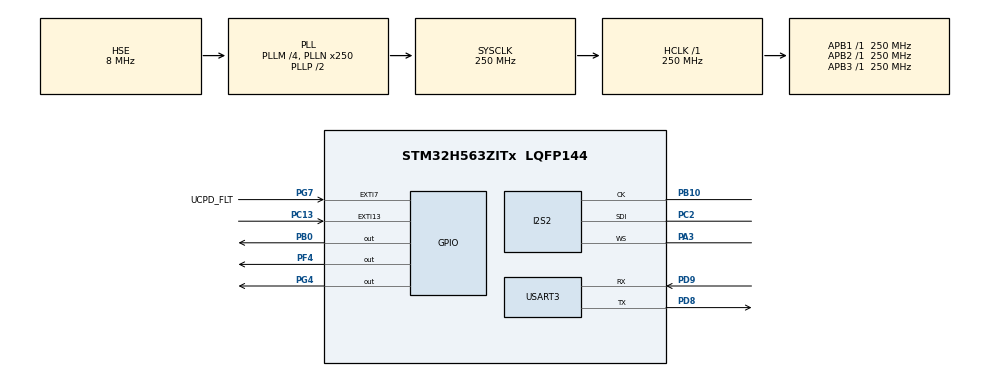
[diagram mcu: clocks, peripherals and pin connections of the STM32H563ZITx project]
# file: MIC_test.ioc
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BOOTPATH.BootPathName=LEGACY
BOOTPATH.UserSelectedBootPath=LEGACY
CORTEX_M33_NS.userName=CORTEX_M33
GPDMA1.CIRCULARMODE_GPDMACH0=ENABLE
GPDMA1.DESTDATAWIDTH_GPDMACH0=DMA_DEST_DATAWIDTH_HALFWORD
GPDMA1.IPHANDLE_GPDMACH0-SIMPLEREQUEST_GPDMACH0=__NULL
GPDMA1.PRIORITY_LL_CIRCULAR_GPDMACH0=DMA_LOW_PRIORITY_HIGH_WEIGHT
GPDMA1.REQUEST_GPDMACH0=GPDMA1_REQUEST_SPI2_RX
GPDMA1.SRCDATAWIDTH_GPDMACH0=DMA_SRC_DATAWIDTH_HALFWORD
GPDMA1.TRANSFERALLOCATEDPORTDEST_GPDMACH0=DMA_DEST_ALLOCATED_PORT1
I2S2.AudioFreq=I2S_AUDIOFREQ_32K
I2S2.CPOL=I2S_CPOL_HIGH
I2S2.DataFormat=I2S_DATAFORMAT_16B_EXTENDED
I2S2.ErrorAudioFreq=0.05 %
I2S2.Instance=SPI$Index
I2S2.RealAudioFreq=32.018 KHz
I2S2.Standard=I2S_STANDARD_MSB
Mcu.Family=STM32H5
Mcu.Name=STM32H563ZITx
Mcu.Package=LQFP144
NVIC.GPDMA1_Channel0_IRQn=true\:2\:0\:true\:false\:true\:true\:false\:true\:true
NVIC.PriorityGroup=NVIC_PRIORITYGROUP_4
NVIC.SPI2_IRQn=true\:2\:0\:true\:false\:true\:false\:true\:true\:true
NVIC.TIM6_IRQn=true\:15\:0\:false\:false\:true\:false\:false\:true\:true
NVIC.TimeBase=TIM6_IRQn
NVIC.TimeBaseIP=TIM6
PA1.GPIO_Label=RMII_REF_CLK
PA1.GPIO_Mode=GPIO_MODE_AF_PP
PA1.GPIO_PuPd=GPIO_NOPULL
PA1.GPIO_Speed=GPIO_SPEED_FREQ_LOW
PA1.Signal=ETH_REF_CLK
PA11.GPIO_Label=USB_FS_N
PA11.Signal=USB_DM
PA12.GPIO_Label=USB_FS_P
PA12.Signal=USB_DP
PA13(JTMS/SWDIO).GPIO_Label=SWDIO
PA13(JTMS/SWDIO).Signal=DEBUG_JTMS-SWDIO
PA14(JTCK/SWCLK).GPIO_Label=SWCLK
PA14(JTCK/SWCLK).Signal=DEBUG_JTCK-SWCLK
PA15(JTDI).GPIO_Label=T_JTDI
PA15(JTDI).Signal=DEBUG_JTDI
PA2.GPIO_Label=RMII_MDIO
PA2.GPIO_Mode=GPIO_MODE_AF_PP
PA2.GPIO_PuPd=GPIO_NOPULL
PA2.GPIO_Speed=GPIO_SPEED_FREQ_LOW
PA2.Signal=ETH_MDIO
PA3.Mode=Half_Duplex_Master_Rx
PA3.Signal=I2S2_WS
PA4.GPIO_Label=VBUS_SENSE
PA4.Signal=ADCx_INP18
PA7.GPIO_Label=RMII_CRS_DV
PA7.GPIO_Mode=GPIO_MODE_AF_PP
PA7.GPIO_PuPd=GPIO_NOPULL
PA7.GPIO_Speed=GPIO_SPEED_FREQ_LOW
PA7.Signal=ETH_CRS_DV
PA9.GPIO_Label=UCDP_DBn
PA9.Signal=UCPD1_DB1
PB0.Signal=GPIO_Output
PB10.Mode=Half_Duplex_Master_Rx
PB10.Signal=I2S2_CK
PB13.GPIO_Label=UCPD_CC1
PB13.Signal=UCPD1_CC1
PB14.GPIO_Label=UCPD_CC2
PB14.Signal=UCPD1_CC2
PB15.GPIO_Label=RMII_TXD1
PB15.GPIO_Mode=GPIO_MODE_AF_PP
PB15.GPIO_PuPd=GPIO_NOPULL
PB15.GPIO_Speed=GPIO_SPEED_FREQ_LOW
PB15.Signal=ETH_TXD1
PB3(JTDO/TRACESWO).GPIO_Label=SWO
PB3(JTDO/TRACESWO).Signal=DEBUG_JTDO-SWO
PB6.GPIO_Label=ARD_D1_TX
PB6.Signal=LPUART1_TX
PB7.GPIO_Label=ARD_D0_RX
PB7.Signal=LPUART1_RX
PC1.GPIO_Label=RMII_MDC
PC1.GPIO_Mode=GPIO_MODE_AF_PP
PC1.GPIO_PuPd=GPIO_NOPULL
PC1.GPIO_Speed=GPIO_SPEED_FREQ_LOW
PC1.Signal=ETH_MDC
PC13.Signal=GPXTI13
PC14-OSC32_IN(OSC32_IN).Mode=LSE-External-Oscillator
PC14-OSC32_IN(OSC32_IN).Signal=RCC_OSC32_IN
PC15-OSC32_OUT(OSC32_OUT).Mode=LSE-External-Oscillator
PC15-OSC32_OUT(OSC32_OUT).Signal=RCC_OSC32_OUT
PC2.Mode=Half_Duplex_Master_Rx
PC2.Signal=I2S2_SDI
PC4.GPIO_Label=RMII_RXD0
PC4.GPIO_Mode=GPIO_MODE_AF_PP
PC4.GPIO_PuPd=GPIO_NOPULL
PC4.GPIO_Speed=GPIO_SPEED_FREQ_LOW
PC4.Signal=ETH_RXD0
PC5.GPIO_Label=RMII_RXD1
PC5.GPIO_Mode=GPIO_MODE_AF_PP
PC5.GPIO_PuPd=GPIO_NOPULL
PC5.GPIO_Speed=GPIO_SPEED_FREQ_LOW
PC5.Signal=ETH_RXD1
PD8.Mode=Asynchronous
PD8.Signal=USART3_TX
PD9.Mode=Asynchronous
PD9.Signal=USART3_RX
PE2.GPIO_Label=TRACE_CK
PE2.Signal=DEBUG_TRACECLK
PE3.GPIO_Label=TRACE_D0
PE3.Signal=DEBUG_TRACED0
PE4.GPIO_Label=TRACE_D1
PE4.Signal=DEBUG_TRACED1
PE5.GPIO_Label=TRACE_D2
PE5.Signal=DEBUG_TRACED2
PE6.GPIO_Label=TRACE_D3
PE6.Signal=DEBUG_TRACED3
PF4.Signal=GPIO_Output
PG11.GPIO_Label=RMII_TXT_EN
PG11.GPIO_Mode=GPIO_MODE_AF_PP
PG11.GPIO_PuPd=GPIO_NOPULL
PG11.GPIO_Speed=GPIO_SPEED_FREQ_LOW
PG11.Signal=ETH_TX_EN
PG13.GPIO_Label=RMI_TXD0
PG13.GPIO_Mode=GPIO_MODE_AF_PP
PG13.GPIO_PuPd=GPIO_NOPULL
PG13.GPIO_Speed=GPIO_SPEED_FREQ_LOW
PG13.Signal=ETH_TXD0
PG4.Signal=GPIO_Output
PG7.GPIO_Label=UCPD_FLT
PG7.Signal=GPXTI7
PH0-OSC_IN(PH0).GPIO_Label=STLK_MCO
PH0-OSC_IN(PH0).Mode=HSE-External-Clock-Source
PH0-OSC_IN(PH0).Signal=RCC_OSC_IN
ProjectManager.HeapSize=0x200
ProjectManager.StackSize=0x400
ProjectManager.TargetToolchain=STM32CubeIDE
RCC.ADCFreq_Value=250000000
RCC.AHBFreq_Value=250000000
RCC.APB1Freq_Value=250000000
RCC.APB1TimFreq_Value=250000000
RCC.APB2Freq_Value=250000000
RCC.APB2TimFreq_Value=250000000
RCC.APB3Freq_Value=250000000
RCC.CSI_VALUE=4000000
RCC.CortexFreq_Value=250000000
RCC.EPOD_VALUE=8000000
RCC.HCLKFreq_Value=250000000
RCC.HSE_VALUE=8000000
RCC.HSI48_VALUE=48000000
RCC.HSIDiv=RCC_HSI_DIV1
RCC.HSI_VALUE=64000000
RCC.LSIRC_VALUE=32000
RCC.PLLM=4
RCC.PLLN=250
RCC.PLLSourceVirtual=RCC_PLL1_SOURCE_HSE
RCC.SYSCLKFreq_VALUE=250000000
RCC.SYSCLKSource=RCC_SYSCLKSOURCE_PLLCLK
RCC.USBFreq_Value=48000000
RCC.VCOOutputFreq_Value=500000000
SH.ADCx_INP18.0=ADC1_INP18
USART3.VirtualMode-Asynchronous=VM_ASYNC
VP_BOOTPATH_VS_BOOTPATH.Mode=BP_Activate
VP_CORTEX_M33_NS_VS_Hclk.Mode=Hclk_Mode
VP_GPDMA1_VS_GPDMACH0.Mode=SIMPLEREQUEST_GPDMACH0
VP_ICACHE_VS_ICACHE.Mode=DirectMappedCache
VP_MEMORYMAP_VS_MEMORYMAP.Mode=CurAppReg
VP_PWR_VS_DBSignals.Mode=DisableDeadBatterySignals
VP_PWR_VS_LPOM.Mode=PowerOptimisation
VP_PWR_VS_SECSignals.Mode=Security/Privilege
VP_SYS_VS_tim6.Mode=TIM6
VP_THREADX_VS_RTOSJjThreadXJjCoreJjDefault.Mode=Core_Default
board=NUCLEO-H563ZI

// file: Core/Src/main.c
/* USER CODE BEGIN Header */
/**
  ******************************************************************************
  * @file           : main.c
  * @brief          : Main program body
  ******************************************************************************
  * @attention
  *
  * Copyright (c) 2025 STMicroelectronics.
  * All rights reserved.
  *
  * This software is licensed under terms that can be found in the LICENSE file
  * in the root directory of this software component.
  * If no LICENSE file comes with this software, it is provided AS-IS.
  *
  ******************************************************************************
  */
/* USER CODE END Header */
#include "app_threadx.h"
#include "main.h"

/* USER CODE BEGIN Includes */
#include <stdio.h>
/* USER CODE END Includes */

/* USER CODE BEGIN PD */
#define AUDIO_BUFFER_SIZE    512
/* USER CODE END PD */

I2S_HandleTypeDef hi2s2;
DMA_NodeTypeDef Node_GPDMA1_Channel0;
DMA_QListTypeDef List_GPDMA1_Channel0;
DMA_HandleTypeDef handle_GPDMA1_Channel0;

UART_HandleTypeDef huart3;

/* USER CODE BEGIN PV */
ALIGN_32BYTES(uint16_t audioBuffer[AUDIO_BUFFER_SIZE]);
volatile uint8_t bufferHalf = 0;
extern TX_SEMAPHORE data_ready_semaphore;
/* USER CODE END PV */

void SystemClock_Config(void);
static void MX_GPIO_Init(void);
static void MX_GPDMA1_Init(void);
static void MX_I2S2_Init(void);
static void MX_ICACHE_Init(void);
static void MX_USART3_UART_Init(void);

/* USER CODE BEGIN 0 */
#define USE_UART_PRINT
void __io_putchar(char ch) {
#ifdef USE_UART_PRINT
	HAL_UART_Transmit(&huart3, (uint8_t*) &ch, 1, 10);
#else
	ITM_SendChar(ch);
#endif
}
/* USER CODE END 0 */

int main(void)
{

  /* MCU Configuration--------------------------------------------------------*/

  /* Reset of all peripherals, Initializes the Flash interface and the Systick. */
  HAL_Init();

  /* Configure the system clock */
  SystemClock_Config();

  /* Initialize all configured peripherals */
  MX_GPIO_Init();
  MX_GPDMA1_Init();
  MX_I2S2_Init();
  MX_ICACHE_Init();
  MX_USART3_UART_Init();
  /* USER CODE BEGIN 2 */
  /* Link DMA to I2S */
  __HAL_LINKDMA(&hi2s2, hdmarx, handle_GPDMA1_Channel0);

  /* Enable DMA interrupts */
  __HAL_DMA_ENABLE_IT(&handle_GPDMA1_Channel0, DMA_IT_TC);
  __HAL_DMA_ENABLE_IT(&handle_GPDMA1_Channel0, DMA_IT_HT);
  /* USER CODE END 2 */

  MX_ThreadX_Init();

  /* We should never get here as control is now taken by the scheduler */

  /* Infinite loop */
  while (1)
  {

  }
}

void SystemClock_Config(void)
{
  RCC_OscInitTypeDef RCC_OscInitStruct = {0};
  RCC_ClkInitTypeDef RCC_ClkInitStruct = {0};

  /** Configure the main internal regulator output voltage
  */
  __HAL_PWR_VOLTAGESCALING_CONFIG(PWR_REGULATOR_VOLTAGE_SCALE0);

  while(!__HAL_PWR_GET_FLAG(PWR_FLAG_VOSRDY)) {}

  /** Initializes the RCC Oscillators according to the specified parameters
  * in the RCC_OscInitTypeDef structure.
  */
  RCC_OscInitStruct.OscillatorType = RCC_OSCILLATORTYPE_HSE;
  RCC_OscInitStruct.HSEState = RCC_HSE_BYPASS;
  RCC_OscInitStruct.PLL.PLLState = RCC_PLL_ON;
  RCC_OscInitStruct.PLL.PLLSource = RCC_PLL1_SOURCE_HSE;
  RCC_OscInitStruct.PLL.PLLM = 4;
  RCC_OscInitStruct.PLL.PLLN = 250;
  RCC_OscInitStruct.PLL.PLLP = 2;
  RCC_OscInitStruct.PLL.PLLQ = 2;
  RCC_OscInitStruct.PLL.PLLR = 2;
  RCC_OscInitStruct.PLL.PLLRGE = RCC_PLL1_VCIRANGE_1;
  RCC_OscInitStruct.PLL.PLLVCOSEL = RCC_PLL1_VCORANGE_WIDE;
  RCC_OscInitStruct.PLL.PLLFRACN = 0;
  if (HAL_RCC_OscConfig(&RCC_OscInitStruct) != HAL_OK)
  {
    Error_Handler();
  }

  /** Initializes the CPU, AHB and APB buses clocks
  */
  RCC_ClkInitStruct.ClockType = RCC_CLOCKTYPE_HCLK|RCC_CLOCKTYPE_SYSCLK
                              |RCC_CLOCKTYPE_PCLK1|RCC_CLOCKTYPE_PCLK2
                              |RCC_CLOCKTYPE_PCLK3;
  RCC_ClkInitStruct.SYSCLKSource = RCC_SYSCLKSOURCE_PLLCLK;
  RCC_ClkInitStruct.AHBCLKDivider = RCC_SYSCLK_DIV1;
  RCC_ClkInitStruct.APB1CLKDivider = RCC_HCLK_DIV1;
  RCC_ClkInitStruct.APB2CLKDivider = RCC_HCLK_DIV1;
  RCC_ClkInitStruct.APB3CLKDivider = RCC_HCLK_DIV1;

  if (HAL_RCC_ClockConfig(&RCC_ClkInitStruct, FLASH_LATENCY_5) != HAL_OK)
  {
    Error_Handler();
  }

  /** Configure the programming delay
  */
  __HAL_FLASH_SET_PROGRAM_DELAY(FLASH_PROGRAMMING_DELAY_2);
}

static void MX_GPDMA1_Init(void)
{

  /* Peripheral clock enable */
  __HAL_RCC_GPDMA1_CLK_ENABLE();

  /* GPDMA1 interrupt Init */
    HAL_NVIC_SetPriority(GPDMA1_Channel0_IRQn, 2, 0);
    HAL_NVIC_EnableIRQ(GPDMA1_Channel0_IRQn);

}

static void MX_I2S2_Init(void)
{

  hi2s2.Instance = SPI2;
  hi2s2.Init.Mode = I2S_MODE_MASTER_RX;
  hi2s2.Init.Standard = I2S_STANDARD_MSB;
  hi2s2.Init.DataFormat = I2S_DATAFORMAT_16B_EXTENDED;
  hi2s2.Init.MCLKOutput = I2S_MCLKOUTPUT_DISABLE;
  hi2s2.Init.AudioFreq = I2S_AUDIOFREQ_32K;
  hi2s2.Init.CPOL = I2S_CPOL_HIGH;
  hi2s2.Init.FirstBit = I2S_FIRSTBIT_MSB;
  hi2s2.Init.WSInversion = I2S_WS_INVERSION_DISABLE;
  hi2s2.Init.Data24BitAlignment = I2S_DATA_24BIT_ALIGNMENT_RIGHT;
  hi2s2.Init.MasterKeepIOState = I2S_MASTER_KEEP_IO_STATE_DISABLE;
  if (HAL_I2S_Init(&hi2s2) != HAL_OK)
  {
    Error_Handler();
  }

}

static void MX_ICACHE_Init(void)
{

  /** Enable instruction cache in 1-way (direct mapped cache)
  */
  if (HAL_ICACHE_ConfigAssociativityMode(ICACHE_1WAY) != HAL_OK)
  {
    Error_Handler();
  }
  if (HAL_ICACHE_Enable() != HAL_OK)
  {
    Error_Handler();
  }

}

static void MX_USART3_UART_Init(void)
{

  huart3.Instance = USART3;
  huart3.Init.BaudRate = 115200;
  huart3.Init.WordLength = UART_WORDLENGTH_8B;
  huart3.Init.StopBits = UART_STOPBITS_1;
  huart3.Init.Parity = UART_PARITY_NONE;
  huart3.Init.Mode = UART_MODE_TX_RX;
  huart3.Init.HwFlowCtl = UART_HWCONTROL_NONE;
  huart3.Init.OverSampling = UART_OVERSAMPLING_16;
  huart3.Init.OneBitSampling = UART_ONE_BIT_SAMPLE_DISABLE;
  huart3.Init.ClockPrescaler = UART_PRESCALER_DIV1;
  huart3.AdvancedInit.AdvFeatureInit = UART_ADVFEATURE_NO_INIT;
  if (HAL_UART_Init(&huart3) != HAL_OK)
  {
    Error_Handler();
  }
  if (HAL_UARTEx_SetTxFifoThreshold(&huart3, UART_TXFIFO_THRESHOLD_1_8) != HAL_OK)
  {
    Error_Handler();
  }
  if (HAL_UARTEx_SetRxFifoThreshold(&huart3, UART_RXFIFO_THRESHOLD_1_8) != HAL_OK)
  {
    Error_Handler();
  }
  if (HAL_UARTEx_DisableFifoMode(&huart3) != HAL_OK)
  {
    Error_Handler();
  }

}

static void MX_GPIO_Init(void)
{
  GPIO_InitTypeDef GPIO_InitStruct = {0};

  /* GPIO Ports Clock Enable */
  __HAL_RCC_GPIOE_CLK_ENABLE();
  __HAL_RCC_GPIOC_CLK_ENABLE();
  __HAL_RCC_GPIOF_CLK_ENABLE();
  __HAL_RCC_GPIOH_CLK_ENABLE();
  __HAL_RCC_GPIOA_CLK_ENABLE();
  __HAL_RCC_GPIOB_CLK_ENABLE();
  __HAL_RCC_GPIOD_CLK_ENABLE();
  __HAL_RCC_GPIOG_CLK_ENABLE();

  /*Configure GPIO pin Output Level */
  HAL_GPIO_WritePin(GPIOF, GPIO_PIN_4, GPIO_PIN_RESET);

  /*Configure GPIO pin Output Level */
  HAL_GPIO_WritePin(GPIOB, GPIO_PIN_0, GPIO_PIN_RESET);

  /*Configure GPIO pin Output Level */
  HAL_GPIO_WritePin(GPIOG, GPIO_PIN_4, GPIO_PIN_RESET);

  /*Configure GPIO pin : PC13 */
  GPIO_InitStruct.Pin = GPIO_PIN_13;
  GPIO_InitStruct.Mode = GPIO_MODE_IT_RISING;
  GPIO_InitStruct.Pull = GPIO_NOPULL;
  HAL_GPIO_Init(GPIOC, &GPIO_InitStruct);

  /*Configure GPIO pin : PF4 */
  GPIO_InitStruct.Pin = GPIO_PIN_4;
  GPIO_InitStruct.Mode = GPIO_MODE_OUTPUT_PP;
  GPIO_InitStruct.Pull = GPIO_NOPULL;
  GPIO_InitStruct.Speed = GPIO_SPEED_FREQ_LOW;
  HAL_GPIO_Init(GPIOF, &GPIO_InitStruct);

  /*Configure GPIO pins : RMII_MDC_Pin RMII_RXD0_Pin RMII_RXD1_Pin */
  GPIO_InitStruct.Pin = RMII_MDC_Pin|RMII_RXD0_Pin|RMII_RXD1_Pin;
  GPIO_InitStruct.Mode = GPIO_MODE_AF_PP;
  GPIO_InitStruct.Pull = GPIO_NOPULL;
  GPIO_InitStruct.Speed = GPIO_SPEED_FREQ_HIGH;
  GPIO_InitStruct.Alternate = GPIO_AF11_ETH;
  HAL_GPIO_Init(GPIOC, &GPIO_InitStruct);

  /*Configure GPIO pins : RMII_REF_CLK_Pin RMII_MDIO_Pin RMII_CRS_DV_Pin */
  GPIO_InitStruct.Pin = RMII_REF_CLK_Pin|RMII_MDIO_Pin|RMII_CRS_DV_Pin;
  GPIO_InitStruct.Mode = GPIO_MODE_AF_PP;
  GPIO_InitStruct.Pull = GPIO_NOPULL;
  GPIO_InitStruct.Speed = GPIO_SPEED_FREQ_HIGH;
  GPIO_InitStruct.Alternate = GPIO_AF11_ETH;
  HAL_GPIO_Init(GPIOA, &GPIO_InitStruct);

  /*Configure GPIO pin : VBUS_SENSE_Pin */
  GPIO_InitStruct.Pin = VBUS_SENSE_Pin;
  GPIO_InitStruct.Mode = GPIO_MODE_ANALOG;
  GPIO_InitStruct.Pull = GPIO_NOPULL;
  HAL_GPIO_Init(VBUS_SENSE_GPIO_Port, &GPIO_InitStruct);

  /*Configure GPIO pin : PB0 */
  GPIO_InitStruct.Pin = GPIO_PIN_0;
  GPIO_InitStruct.Mode = GPIO_MODE_OUTPUT_PP;
  GPIO_InitStruct.Pull = GPIO_NOPULL;
  GPIO_InitStruct.Speed = GPIO_SPEED_FREQ_LOW;
  HAL_GPIO_Init(GPIOB, &GPIO_InitStruct);

  /*Configure GPIO pins : UCPD_CC1_Pin UCPD_CC2_Pin */
  GPIO_InitStruct.Pin = UCPD_CC1_Pin|UCPD_CC2_Pin;
  GPIO_InitStruct.Mode = GPIO_MODE_ANALOG;
  GPIO_InitStruct.Pull = GPIO_NOPULL;
  HAL_GPIO_Init(GPIOB, &GPIO_InitStruct);

  /*Configure GPIO pin : RMII_TXD1_Pin */
  GPIO_InitStruct.Pin = RMII_TXD1_Pin;
  GPIO_InitStruct.Mode = GPIO_MODE_AF_PP;
  GPIO_InitStruct.Pull = GPIO_NOPULL;
  GPIO_InitStruct.Speed = GPIO_SPEED_FREQ_HIGH;
  GPIO_InitStruct.Alternate = GPIO_AF11_ETH;
  HAL_GPIO_Init(RMII_TXD1_GPIO_Port, &GPIO_InitStruct);

  /*Configure GPIO pin : PG4 */
  GPIO_InitStruct.Pin = GPIO_PIN_4;
  GPIO_InitStruct.Mode = GPIO_MODE_OUTPUT_PP;
  GPIO_InitStruct.Pull = GPIO_NOPULL;
  GPIO_InitStruct.Speed = GPIO_SPEED_FREQ_LOW;
  HAL_GPIO_Init(GPIOG, &GPIO_InitStruct);

  /*Configure GPIO pin : UCPD_FLT_Pin */
  GPIO_InitStruct.Pin = UCPD_FLT_Pin;
  GPIO_InitStruct.Mode = GPIO_MODE_IT_RISING;
  GPIO_InitStruct.Pull = GPIO_NOPULL;
  HAL_GPIO_Init(UCPD_FLT_GPIO_Port, &GPIO_InitStruct);

  /*Configure GPIO pins : USB_FS_N_Pin USB_FS_P_Pin */
  GPIO_InitStruct.Pin = USB_FS_N_Pin|USB_FS_P_Pin;
  GPIO_InitStruct.Mode = GPIO_MODE_AF_PP;
  GPIO_InitStruct.Pull = GPIO_NOPULL;
  GPIO_InitStruct.Speed = GPIO_SPEED_FREQ_LOW;
  GPIO_InitStruct.Alternate = GPIO_AF10_USB;
  HAL_GPIO_Init(GPIOA, &GPIO_InitStruct);

  /*Configure GPIO pins : RMII_TXT_EN_Pin RMI_TXD0_Pin */
  GPIO_InitStruct.Pin = RMII_TXT_EN_Pin|RMI_TXD0_Pin;
  GPIO_InitStruct.Mode = GPIO_MODE_AF_PP;
  GPIO_InitStruct.Pull = GPIO_NOPULL;
  GPIO_InitStruct.Speed = GPIO_SPEED_FREQ_HIGH;
  GPIO_InitStruct.Alternate = GPIO_AF11_ETH;
  HAL_GPIO_Init(GPIOG, &GPIO_InitStruct);

  /*Configure GPIO pins : ARD_D1_TX_Pin ARD_D0_RX_Pin */
  GPIO_InitStruct.Pin = ARD_D1_TX_Pin|ARD_D0_RX_Pin;
  GPIO_InitStruct.Mode = GPIO_MODE_AF_PP;
  GPIO_InitStruct.Pull = GPIO_NOPULL;
  GPIO_InitStruct.Speed = GPIO_SPEED_FREQ_LOW;
  GPIO_InitStruct.Alternate = GPIO_AF8_LPUART1;
  HAL_GPIO_Init(GPIOB, &GPIO_InitStruct);

}

/* USER CODE BEGIN 4 */
void HAL_I2S_RxHalfCpltCallback(I2S_HandleTypeDef *hi2s)
{
    bufferHalf = 0;
    tx_semaphore_put(&data_ready_semaphore);
}

void HAL_I2S_RxCpltCallback(I2S_HandleTypeDef *hi2s)
{
    bufferHalf = 1;
    tx_semaphore_put(&data_ready_semaphore);
}

void HAL_I2S_ErrorCallback(I2S_HandleTypeDef *hi2s)
{
    printf("I2S Error: 0x%lX\n", hi2s->ErrorCode);
}
/* USER CODE END 4 */

void HAL_TIM_PeriodElapsedCallback(TIM_HandleTypeDef *htim)
{
  if (htim->Instance == TIM6) {
    HAL_IncTick();
  }
}

void Error_Handler(void)
{
  __disable_irq();
  while (1)
  {
  }
}
